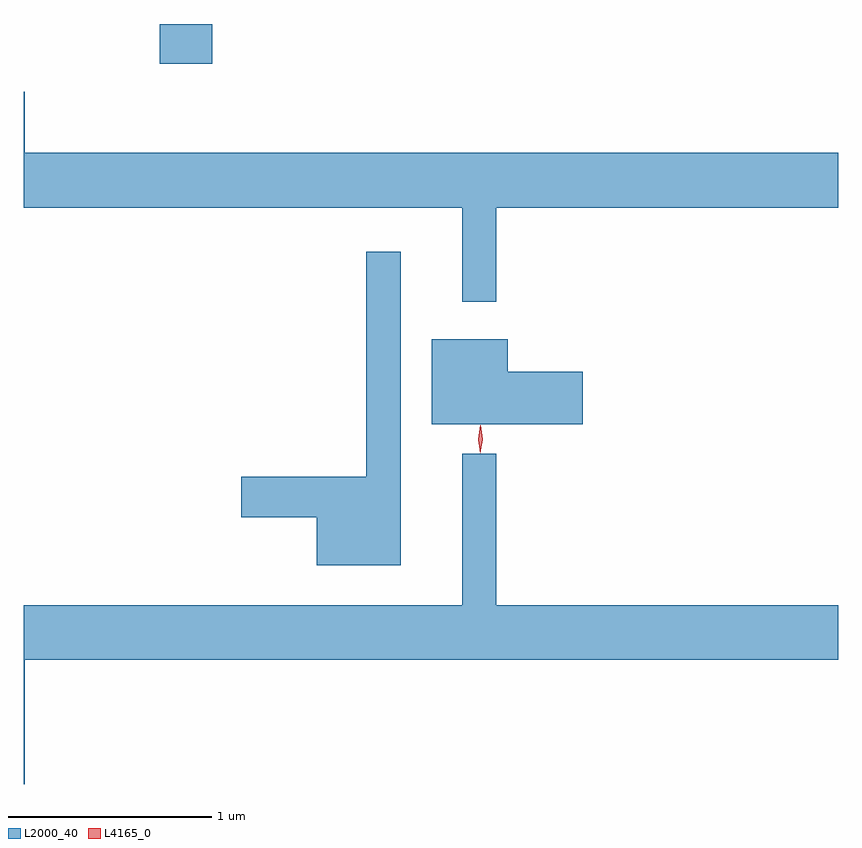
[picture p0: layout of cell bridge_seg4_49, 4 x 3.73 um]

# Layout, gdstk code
import gdstk
lib = gdstk.Library(unit=1e-6, precision=1e-09)
def R(c, l, rs):  # rectangles x0, y0, x1, y1
    for r in rs: c.add(gdstk.rectangle(r[:2], r[2:], *l))
def P(c, l, *ps):  # polygons
    for p in ps: c.add(gdstk.Polygon(p, *l))
L2000_40 = (2000, 40)
L4165_0 = (4165, 0)

bridge_seg4_49 = lib.new_cell('bridge_seg4_49')
R(bridge_seg4_49, L2000_40, [(1294.926,1330.961,1295.184,1331.157)])
P(bridge_seg4_49, L2000_40, [(1296.579,1330.256),(1298.258,1330.256),(1298.258,1330.524),(1294.264,1330.524),(1294.264,1330.824),(1294.258,1330.824),(1294.258,1330.256),(1296.411,1330.256),(1296.411,1329.793),(1296.579,1329.793)],
  [(1296.109,1330.038),(1295.941,1330.038),(1295.941,1328.934),(1295.326,1328.934),(1295.326,1328.736),(1295.696,1328.736),(1295.696,1328.501),(1296.109,1328.501)],
  [(1297.004,1329.449),(1296.634,1329.449),(1296.634,1329.609),(1296.261,1329.609),(1296.261,1329.191),(1297.004,1329.191)],
  [(1294.264,1328.036),(1298.258,1328.036),(1298.258,1328.304),(1296.579,1328.304),(1296.579,1329.048),(1296.411,1329.048),(1296.411,1328.304),(1294.258,1328.304),(1294.258,1327.426),(1294.264,1327.426)])
P(bridge_seg4_49, L4165_0, [(1296.5,1329.053),(1296.5,1329.053),(1296.491,1329.116),(1296.501,1329.179),(1296.502,1329.18),(1296.502,1329.179),(1296.511,1329.116),(1296.5,1329.053)],
  [(1296.5,1329.05),(1296.5,1329.05),(1296.491,1329.118),(1296.501,1329.186),(1296.502,1329.186),(1296.502,1329.186),(1296.511,1329.118),(1296.5,1329.05)])

lib.write_gds('bridge_seg4_49.gds')
